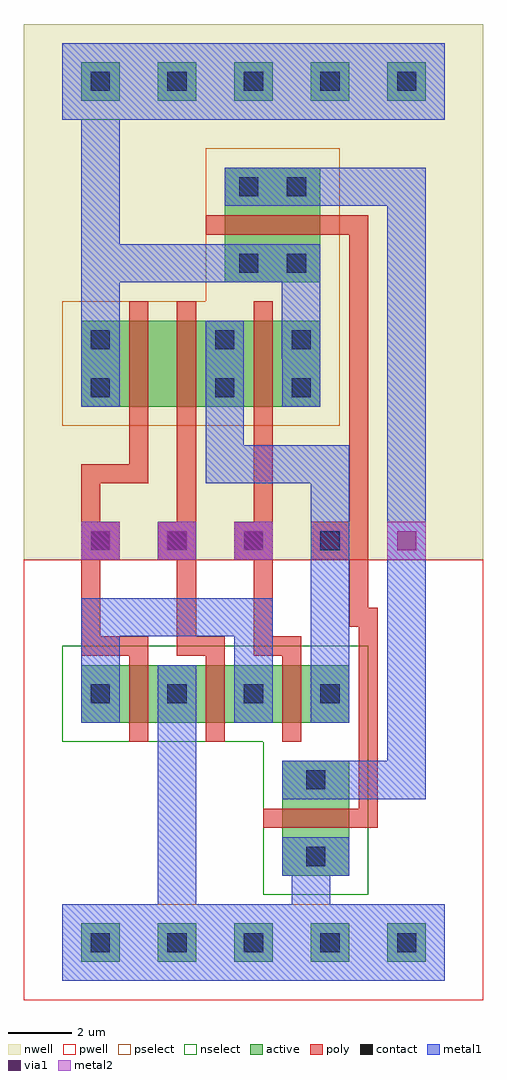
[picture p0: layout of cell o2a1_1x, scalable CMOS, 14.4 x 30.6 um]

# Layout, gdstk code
import gdstk
lib = gdstk.Library(unit=1e-6, precision=1e-09)
def R(c, l, rs):  # rectangles x0, y0, x1, y1
    for r in rs: c.add(gdstk.rectangle(r[:2], r[2:], *l))
def A(c, l, x, y, w, h, nx, ny, dx, dy):  # array of equal rectangles
    R(c, l, [(x+i*dx, y+j*dy, x+i*dx+w, y+j*dy+h) for i in range(nx) for j in range(ny)])
contact = (25, 0)
pwell = (41, 0)
nwell = (42, 0)
active = (43, 0)
pselect = (44, 0)
nselect = (45, 0)
poly = (46, 0)
metal1 = (49, 0)
via1 = (50, 0)
metal2 = (51, 0)

o2a1_1x = lib.new_cell('o2a1_1x')
A(o2a1_1x, contact, 0.9, -0.3, 0.6, 0.6, 5, 2, 2.4, 27)
A(o2a1_1x, contact, 0.9, 7.5, 0.6, 0.6, 4, 2, 2.4, 4.8)
R(o2a1_1x, contact, [(7.65,2.4,8.25,3), (7.65,4.8,8.25,5.4), (0.9,17.1,1.5,17.7), (4.8,17.1,5.4,17.7), (7.2,17.1,7.8,17.7), (0.9,18.6,1.5,19.2), (4.8,18.6,5.4,19.2), (7.2,18.6,7.8,19.2), (5.55,21,6.15,21.6), (7.05,21,7.65,21.6), (5.55,23.4,6.15,24), (7.05,23.4,7.65,24)])
A(o2a1_1x, pwell, -0.3, -1.5, 3, 3, 5, 1, 2.4, 0)
A(o2a1_1x, pwell, -1.2, 5.1, 4.8, 5.4, 4, 1, 2.4, 0)
A(o2a1_1x, pwell, -0.6, 5.1, 6, 5.4, 3, 1, 2.4, 0)
R(o2a1_1x, pwell, [(-1.2,-1.8,13.2,12), (5.1,0.3,10.8,5.1), (5.85,0.45,10.35,5.025), (5.1,0.9,10.8,6.9), (5.1,2.7,10.8,7.5), (5.1,2.775,9.6,7.35), (-1.05,5.1,3.525,9.6), (3.675,5.1,8.25,9.6), (6.075,5.1,10.65,9.6), (1.275,5.25,5.85,9.75), (1.35,5.25,5.925,9.75), (3.75,5.55,8.325,10.05)])
A(o2a1_1x, nwell, -0.3, 25.5, 3, 3, 5, 1, 2.4, 0)
R(o2a1_1x, nwell, [(-1.2,12,13.2,28.8), (-1.2,15,3.6,21.3), (-0.6,15,5.4,21.3), (0.9,15,6.9,21.3), (2.7,15,7.5,21.3), (3.3,15,9.3,21.3), (5.1,15,9.9,21.3), (-1.05,15.09,3.525,19.59), (0.525,15.15,5.775,19.65), (2.775,15.9,7.35,20.4), (2.85,15.9,7.425,20.4), (5.175,15.9,9.741,20.4), (3.3,18.9,9.9,23.7), (3.3,19.05,7.8,23.625), (3.3,19.5,9.9,25.5), (3.3,21.3,9.9,26.1), (3.3,21.375,7.8,25.95)])
A(o2a1_1x, active, 0.6, -0.6, 1.2, 1.2, 5, 2, 2.4, 27)
A(o2a1_1x, active, 0.6, 6.9, 1.2, 1.8, 4, 1, 2.4, 0)
A(o2a1_1x, active, 1.2, 6.9, 2.4, 1.8, 3, 1, 2.4, 0)
R(o2a1_1x, active, [(6.9,2.1,9,3.3), (7.65,2.25,8.55,3.225), (6.9,2.7,9,5.1), (6.9,4.5,9,5.7), (6.9,4.575,7.8,5.55), (0.75,6.9,1.725,7.8), (5.475,6.9,6.45,7.8), (7.875,6.9,8.85,7.8), (3.075,7.05,4.05,7.95), (3.15,7.05,4.125,7.95), (5.55,7.35,6.525,8.25), (0.6,16.8,1.8,19.5), (1.2,16.8,3.6,19.5), (2.7,16.8,5.1,19.5), (4.5,16.8,5.7,19.5), (5.1,16.8,7.5,19.5), (6.9,16.8,8.1,19.5), (0.75,16.89,1.725,17.79), (2.325,16.95,3.975,17.85), (4.575,17.7,5.55,18.6), (4.65,17.7,5.625,18.6), (6.975,17.7,7.941,18.6), (5.1,20.7,8.1,21.9), (5.1,20.85,6,21.825), (5.1,21.3,8.1,23.7), (5.1,23.1,8.1,24.3), (5.1,23.175,6,24.15)])
A(o2a1_1x, pselect, 0, -1.2, 2.4, 2.4, 5, 1, 2.4, 0)
R(o2a1_1x, pselect, [(0,16.2,2.4,20.1), (0.6,16.2,4.2,20.1), (2.1,16.2,5.7,20.1), (3.9,16.2,6.3,20.1), (4.5,16.2,8.1,20.1), (6.3,16.2,8.7,20.1), (0.15,16.29,2.325,18.39), (1.725,16.35,4.575,18.45), (3.975,17.1,6.15,19.2), (4.05,17.1,6.225,19.2), (6.375,17.1,8.541,19.2), (4.5,20.1,8.7,22.5), (4.5,20.25,6.6,22.425), (4.5,20.7,8.7,24.3), (4.5,22.5,8.7,24.9), (4.5,22.575,6.6,24.75)])
A(o2a1_1x, nselect, 0, 6.3, 2.4, 3, 4, 1, 2.4, 0)
A(o2a1_1x, nselect, 0.6, 6.3, 3.6, 3, 3, 1, 2.4, 0)
A(o2a1_1x, nselect, 0, 25.8, 2.4, 2.4, 5, 1, 2.4, 0)
R(o2a1_1x, nselect, [(6.3,1.5,9.6,3.9), (7.05,1.65,9.15,3.825), (6.3,2.1,9.6,5.7), (6.3,3.9,9.6,6.3), (6.3,3.975,8.4,6.15), (0.15,6.3,2.325,8.4), (4.875,6.3,7.05,8.4), (7.275,6.3,9.45,8.4), (2.475,6.45,4.65,8.55), (2.55,6.45,4.725,8.55), (4.95,6.75,7.125,8.85)])
A(o2a1_1x, poly, 2.1, 6.3, 0.6, 3, 3, 1, 2.4, 0)
A(o2a1_1x, poly, 0.6, 12, 1.2, 1.2, 4, 1, 2.4, 0)
R(o2a1_1x, poly, [(6.3,3.6,9.6,4.2), (9.3,3.6,9.9,10.5), (0.6,9,2.7,9.6), (0.6,9,1.2,13.05), (3.6,9,4.2,13.05), (3.6,9,5.1,9.6), (6,9,6.6,13.05), (6,9,7.5,9.6), (9,9.9,9.6,12.9), (9,9.9,9.9,10.5), (3.3,12.3,4.2,12.9), (3.3,12.3,4.2,12.9), (3.6,12.3,4.2,16.5), (5.7,12.3,6.6,12.9), (6,12.3,6.6,16.5), (8.1,12.3,9.6,12.9), (9,12.3,9.6,22.8), (0.6,12.45,1.5,13.05), (0.6,12.45,1.2,15), (3.3,12.45,4.2,13.05), (5.7,12.45,6.6,13.05), (0.6,14.4,2.7,15), (2.1,14.4,2.7,16.5), (2.1,16.2,2.7,20.1), (3.6,16.2,4.2,20.1), (6,16.2,6.6,20.1), (4.5,22.2,8.7,22.8), (8.4,22.2,9.6,22.8)])
A(o2a1_1x, metal1, 0, -1.2, 4.8, 2.4, 4, 2, 2.4, 27)
A(o2a1_1x, metal1, 0.6, -0.6, 1.2, 1.2, 5, 1, 2.4, 0)
A(o2a1_1x, metal1, 0.6, 6.9, 1.2, 1.8, 4, 1, 2.4, 0)
A(o2a1_1x, metal1, 0.6, 26.4, 1.2, 1.2, 4, 1, 2.4, 0)
R(o2a1_1x, metal1, [(0,-1.2,4.8,1.2), (6.6,-1.2,9.6,1.2), (9.6,-1.2,12,1.2), (3,-0.6,4.2,7.95), (7.2,-0.6,8.4,3.3), (0.75,-0.45,1.65,0.45), (7.95,-0.45,8.85,0.45), (6.9,2.1,9,3.3), (6.9,4.5,9,5.7), (7.8,4.5,11.4,5.7), (10.2,4.5,11.4,13.2), (7.8,7.05,9,13.2), (0.6,7.5,1.8,10.8), (5.4,7.5,6.6,10.8), (0.6,9.6,6.6,10.8), (0.6,12,1.8,13.2), (0.6,12,1.8,13.2), (0.6,12,1.8,13.2), (0.6,12,1.8,13.2), (3,12,4.2,13.2), (3,12,4.2,13.2), (5.4,12,6.6,13.2), (5.4,12,6.6,13.2), (5.4,12,6.6,13.2), (7.8,12,9,13.2), (7.8,12,9,13.2), (7.8,12,9,15.6), (10.2,12,11.4,13.2), (10.2,12,11.4,13.2), (10.2,12,11.4,24.3), (3.15,12.15,4.05,13.05), (4.5,14.4,5.7,17.91), (4.5,14.4,9,15.6), (0.6,16.8,1.8,19.5), (4.5,16.8,5.7,19.5), (6.9,16.8,8.1,19.5), (0.6,18.3,1.8,21.9), (6.891,18.3,8.091,21.9), (0.6,20.7,1.8,27.6), (0.6,20.7,6.3,21.9), (5.1,20.7,8.1,21.9), (5.1,23.1,8.1,24.3), (5.55,23.1,11.4,24.3), (0,25.8,2.4,28.2), (0,25.8,4.8,28.2), (2.4,25.8,9.6,28.2), (6.3,25.8,9.6,28.2), (0.6,26.4,1.8,27.6), (7.8,26.4,9,27.6), (10.2,26.4,11.4,27.6), (0.75,26.55,1.65,27.45)])
A(o2a1_1x, via1, 0.9, 12.3, 0.6, 0.6, 3, 1, 2.4, 0)
R(o2a1_1x, via1, [(10.5,12.3,11.1,12.9)])
A(o2a1_1x, metal2, 0.6, 12, 1.2, 1.2, 3, 1, 2.4, 0)
R(o2a1_1x, metal2, [(10.2,12,11.4,13.2)])

lib.write_gds('o2a1_1x.gds')
